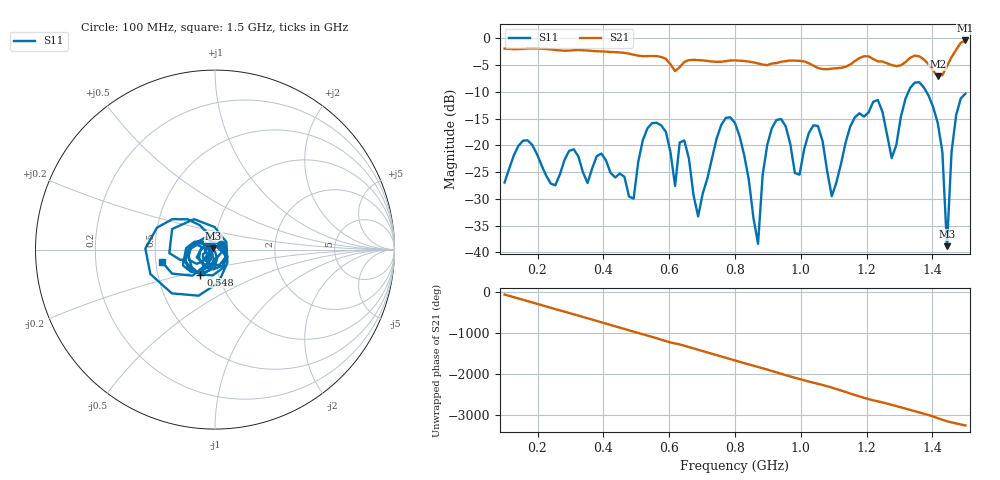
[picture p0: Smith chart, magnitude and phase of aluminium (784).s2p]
! NanoVNA-App
! Date: 2025-09-25 15:01:23
! Start: 100MHz Stop: 1,5GHz Points: 101
! S-Parameter data: F S11 S21 S12 S22
# Hz S RI R 50
!  Frequency  S11_Real  S11_Imag  S21_Real  S21_Imag  S12_Real  S12_Imag  S22_Real  S22_Imag
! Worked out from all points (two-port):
!   101 points, 100 MHz to 1.5 GHz, reference 50 ohm
!   highest |S21| = -0.41 dB at 1.5 GHz (marker M1); lowest = -7.1 dB at 1.416 GHz (marker M2)
!   |S21| within 3 dB of the highest: start of sweep to 568.1 MHz; 1.459 GHz to end of sweep (the widest 2 of 4)
!   lowest |S11| = -38.9 dB at 1.444 GHz (marker M3), VSWR 1.02, Z = 49.1 + j0.697 ohm
!   |S11| at or under -10 dB: start of sweep to 1.327 GHz; 1.381 GHz to end of sweep
!   S12 and S22 are empty: the file has one direction only
!   S11 on the Smith chart (normalised r, x): 100 MHz: 1.07, +0.06; 548 MHz: 0.82, -0.23; 1.5 GHz: 0.54, -0.08
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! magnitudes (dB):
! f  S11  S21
! 100 MHz  -27.0  -1.9
! 156 MHz  -19.1  -2.0
! 338 MHz  -25.0  -2.2
! 492 MHz  -30.0  -3.1
! 548 MHz  -15.9  -3.3
! 576 MHz  -16.3  -3.5
! 618 MHz  -27.6  -6.1
! 646 MHz  -19.1  -4.4
! 688 MHz  -33.3  -4.1
! 800 MHz  -15.9  -4.1
! 870 MHz  -38.4  -4.7
! 912 MHz  -16.8  -4.7
! 996 MHz  -25.5  -4.2
! 1.038 GHz  -16.3  -5.1
! 1.094 GHz  -29.5  -5.7
! 1.22 GHz  -11.9  -3.9
! 1.276 GHz  -22.4  -5.0
! 1.346 GHz  -8.3  -3.2
! 1.416 GHz  -15.8  -7.1
! 1.444 GHz  -38.9  -5.2
! 1.458 GHz  -21.2  -3.5
! 1.5 GHz  -10.4  -0.4
